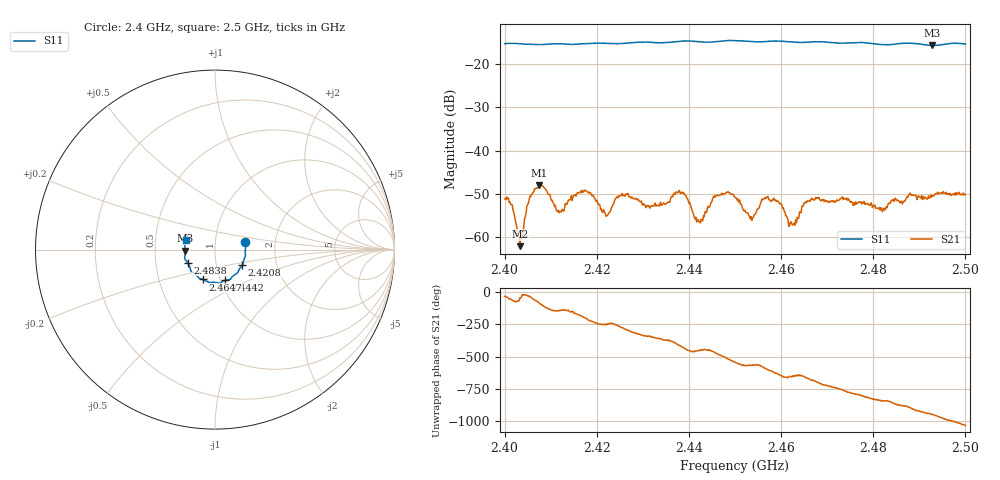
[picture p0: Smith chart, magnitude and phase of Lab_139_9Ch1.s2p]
# Hz S RI R 50
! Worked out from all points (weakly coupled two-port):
!   601 points, 2.4 GHz to 2.5 GHz, reference 50 ohm
!   highest |S21| = -48.03 dB at 2.4075 GHz (marker M1); lowest = -62.1 dB at 2.4033 GHz (marker M2)
!   lowest |S11| = -15.6 dB at 2.4928 GHz (marker M3), VSWR 1.40, Z = 35.8 - j0.386 ohm
!   |S11| at or under -10 dB: start of sweep to end of sweep
!   S12 and S22 are empty: the file has one direction only
!   S11 on the Smith chart (normalised r, x): 2.4 GHz: 1.40, +0.12; 2.4208 GHz: 1.33, -0.24; 2.4442 GHz: 1.05, -0.37; 2.4647 GHz: 0.83, -0.29; 2.4838 GHz: 0.73, -0.11; 2.5 GHz: 0.72, +0.08
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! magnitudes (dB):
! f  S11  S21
! 2.4 GHz  -15.2  -51.1
! 2.4033 GHz  -15.2  -62.1
! 2.4053 GHz  -15.4  -51.3
! 2.4075 GHz  -15.4  -48.0
! 2.4118 GHz  -15.2  -54.4
! 2.4167 GHz  -15.3  -49.2
! 2.4208 GHz  -15.1  -53.7
! 2.4263 GHz  -15.1  -50.0
! 2.4333 GHz  -15.0  -52.6
! 2.4377 GHz  -14.7  -49.7
! 2.442 GHz  -14.8  -55.9
! 2.4442 GHz  -14.9  -52.9
! 2.45 GHz  -14.5  -50.8
! 2.4535 GHz  -14.7  -55.3
! 2.4588 GHz  -14.6  -51.4
! 2.4622 GHz  -14.8  -56.5
! 2.4647 GHz  -14.9  -52.7
! 2.4667 GHz  -14.8  -51.0
! 2.4833 GHz  -15.5  -52.2
! 2.4838 GHz  -15.4  -51.6
! 2.4928 GHz  -15.6  -50.4
! 2.5 GHz  -15.3  -50.1
